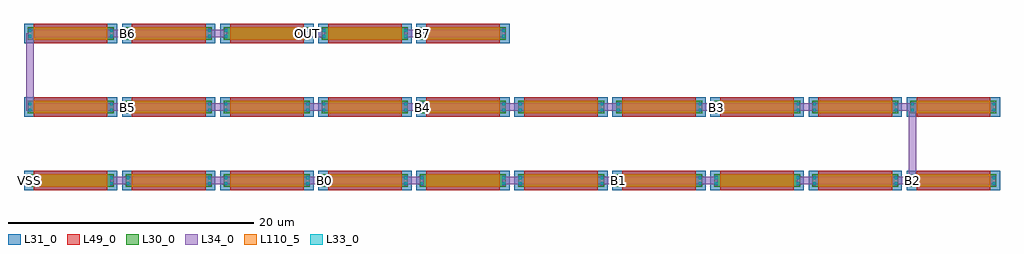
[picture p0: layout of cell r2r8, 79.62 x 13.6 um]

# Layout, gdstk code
import gdstk
lib = gdstk.Library(unit=1e-6, precision=1e-09)
def R(c, l, rs):  # rectangles x0, y0, x1, y1
    for r in rs: c.add(gdstk.rectangle(r[:2], r[2:], *l))
def A(c, l, x, y, w, h, nx, ny, dx, dy):  # array of equal rectangles
    R(c, l, [(x+i*dx, y+j*dy, x+i*dx+w, y+j*dy+h) for i in range(nx) for j in range(ny)])
L30_0 = (30, 0)
L31_0 = (31, 0)
L33_0 = (33, 0)
L34_0 = (34, 0)
L49_0 = (49, 0)
L110_5 = (110, 5)

r2r8 = lib.new_cell('r2r8')
A(r2r8, L30_0, 0.49, 4, 7.02, 1, 10, 2, 8, 6)
A(r2r8, L30_0, 0.49, 16, 7.02, 1, 5, 1, 8, 0)
A(r2r8, L31_0, 0.19, 3.7, 7.62, 1.6, 10, 2, 8, 6)
A(r2r8, L31_0, 0.19, 15.7, 7.62, 1.6, 5, 1, 8, 0)
R(r2r8, L33_0, [(0.56,4.155,0.78,4.375), (7.22,4.155,7.44,4.375), (8.56,4.155,8.78,4.375), (15.22,4.155,15.44,4.375), (16.56,4.155,16.78,4.375), (23.22,4.155,23.44,4.375), (24.56,4.155,24.78,4.375), (31.22,4.155,31.44,4.375), (32.56,4.155,32.78,4.375), (39.22,4.155,39.44,4.375), (40.56,4.155,40.78,4.375), (47.22,4.155,47.44,4.375), (48.56,4.155,48.78,4.375), (55.22,4.155,55.44,4.375), (56.56,4.155,56.78,4.375), (63.22,4.155,63.44,4.375), (64.56,4.155,64.78,4.375), (71.22,4.155,71.44,4.375), (72.56,4.155,72.78,4.375), (79.22,4.155,79.44,4.375), (0.56,4.625,0.78,4.845), (7.22,4.625,7.44,4.845), (8.56,4.625,8.78,4.845), (15.22,4.625,15.44,4.845), (16.56,4.625,16.78,4.845), (23.22,4.625,23.44,4.845), (24.56,4.625,24.78,4.845), (31.22,4.625,31.44,4.845), (32.56,4.625,32.78,4.845), (39.22,4.625,39.44,4.845), (40.56,4.625,40.78,4.845), (47.22,4.625,47.44,4.845), (48.56,4.625,48.78,4.845), (55.22,4.625,55.44,4.845), (56.56,4.625,56.78,4.845), (63.22,4.625,63.44,4.845), (64.56,4.625,64.78,4.845), (71.22,4.625,71.44,4.845), (72.56,4.625,72.78,4.845), (79.22,4.625,79.44,4.845), (0.56,10.155,0.78,10.375), (7.22,10.155,7.44,10.375), (8.56,10.155,8.78,10.375), (15.22,10.155,15.44,10.375), (16.56,10.155,16.78,10.375), (23.22,10.155,23.44,10.375), (24.56,10.155,24.78,10.375), (31.22,10.155,31.44,10.375), (32.56,10.155,32.78,10.375), (39.22,10.155,39.44,10.375), (40.56,10.155,40.78,10.375), (47.22,10.155,47.44,10.375), (48.56,10.155,48.78,10.375), (55.22,10.155,55.44,10.375), (56.56,10.155,56.78,10.375), (63.22,10.155,63.44,10.375), (64.56,10.155,64.78,10.375), (71.22,10.155,71.44,10.375), (72.56,10.155,72.78,10.375), (79.22,10.155,79.44,10.375), (0.56,10.625,0.78,10.845), (7.22,10.625,7.44,10.845), (8.56,10.625,8.78,10.845), (15.22,10.625,15.44,10.845), (16.56,10.625,16.78,10.845), (23.22,10.625,23.44,10.845), (24.56,10.625,24.78,10.845), (31.22,10.625,31.44,10.845), (32.56,10.625,32.78,10.845), (39.22,10.625,39.44,10.845), (40.56,10.625,40.78,10.845), (47.22,10.625,47.44,10.845), (48.56,10.625,48.78,10.845), (55.22,10.625,55.44,10.845), (56.56,10.625,56.78,10.845), (63.22,10.625,63.44,10.845), (64.56,10.625,64.78,10.845), (71.22,10.625,71.44,10.845), (72.56,10.625,72.78,10.845), (79.22,10.625,79.44,10.845), (0.56,16.155,0.78,16.375), (7.22,16.155,7.44,16.375), (8.56,16.155,8.78,16.375), (15.22,16.155,15.44,16.375), (16.56,16.155,16.78,16.375), (23.22,16.155,23.44,16.375), (24.56,16.155,24.78,16.375), (31.22,16.155,31.44,16.375), (32.56,16.155,32.78,16.375), (39.22,16.155,39.44,16.375), (0.56,16.625,0.78,16.845), (7.22,16.625,7.44,16.845), (8.56,16.625,8.78,16.845), (15.22,16.625,15.44,16.845), (16.56,16.625,16.78,16.845), (23.22,16.625,23.44,16.845), (24.56,16.625,24.78,16.845), (31.22,16.625,31.44,16.845), (32.56,16.625,32.78,16.845), (39.22,16.625,39.44,16.845)])
A(r2r8, L34_0, 0.555, 4.095, 0.23, 0.81, 1, 3, 0, 6)
A(r2r8, L34_0, 7.215, 4.095, 0.23, 0.81, 1, 3, 0, 6)
A(r2r8, L34_0, 8.555, 4.095, 0.23, 0.81, 1, 3, 0, 6)
A(r2r8, L34_0, 15.215, 4.095, 0.23, 0.81, 1, 3, 0, 6)
A(r2r8, L34_0, 16.555, 4.095, 0.23, 0.81, 1, 3, 0, 6)
A(r2r8, L34_0, 23.215, 4.095, 0.23, 0.81, 1, 3, 0, 6)
A(r2r8, L34_0, 24.555, 4.095, 0.23, 0.81, 1, 3, 0, 6)
A(r2r8, L34_0, 31.215, 4.095, 0.23, 0.81, 1, 3, 0, 6)
A(r2r8, L34_0, 32.555, 4.095, 0.23, 0.81, 1, 3, 0, 6)
A(r2r8, L34_0, 39.215, 4.095, 0.23, 0.81, 1, 3, 0, 6)
A(r2r8, L34_0, 23.33, 4.2, 8, 0.6, 3, 1, 24, 0)
A(r2r8, L34_0, 0.67, 10.2, 16, 0.6, 3, 1, 24, 0)
A(r2r8, L34_0, 15.33, 10.2, 8, 0.6, 3, 1, 24, 0)
A(r2r8, L34_0, 16.67, 10.2, 14.66, 0.6, 3, 1, 24, 0)
R(r2r8, L34_0, [(40.555,4.095,40.785,4.905), (47.215,4.095,47.445,4.905), (48.555,4.095,48.785,4.905), (55.215,4.095,55.445,4.905), (56.555,4.095,56.785,4.905), (63.215,4.095,63.445,4.905), (64.555,4.095,64.785,4.905), (71.215,4.095,71.445,4.905), (72.555,4.095,72.785,4.905), (79.215,4.095,79.445,4.905), (7.33,4.2,15.33,4.8), (8.67,4.2,16.67,4.8), (16.67,4.2,32.67,4.8), (39.33,4.2,40.67,4.8), (40.67,4.2,56.67,4.8), (63.33,4.2,64.67,4.8), (64.67,4.2,72.97,4.8), (72.37,4.2,72.97,10.5), (40.555,10.095,40.785,10.905), (47.215,10.095,47.445,10.905), (48.555,10.095,48.785,10.905), (55.215,10.095,55.445,10.905), (56.555,10.095,56.785,10.905), (63.215,10.095,63.445,10.905), (64.555,10.095,64.785,10.905), (71.215,10.095,71.445,10.905), (72.555,10.095,72.785,10.905), (79.215,10.095,79.445,10.905), (0.37,10.2,0.97,16.5), (0.37,10.2,7.33,10.8), (0.67,16.2,16.67,16.8), (7.33,16.2,15.33,16.8), (23.33,16.2,24.67,16.8), (31.33,16.2,39.33,16.8)])
A(r2r8, L49_0, 1, 3.72, 6, 1.56, 10, 2, 8, 6)
A(r2r8, L49_0, 1, 15.72, 6, 1.56, 5, 1, 8, 0)
A(r2r8, L110_5, 1, 4, 6, 1, 10, 2, 8, 6)
A(r2r8, L110_5, 1, 16, 6, 1, 5, 1, 8, 0)
r2r8.add(gdstk.Label('VSS', (0.67,4.5), layer=34, texttype=10))
r2r8.add(gdstk.Label('B0', (24.67,4.5), layer=34, texttype=10))
r2r8.add(gdstk.Label('B1', (48.67,4.5), layer=34, texttype=10))
r2r8.add(gdstk.Label('B2', (72.67,4.5), layer=34, texttype=10))
r2r8.add(gdstk.Label('B3', (56.67,10.5), layer=34, texttype=10))
r2r8.add(gdstk.Label('B4', (32.67,10.5), layer=34, texttype=10))
r2r8.add(gdstk.Label('B5', (8.67,10.5), layer=34, texttype=10))
r2r8.add(gdstk.Label('B6', (8.67,16.5), layer=34, texttype=10))
r2r8.add(gdstk.Label('B7', (32.67,16.5), layer=34, texttype=10))
r2r8.add(gdstk.Label('OUT', (23.33,16.5), layer=34, texttype=10))

lib.write_gds('r2r8.gds')
